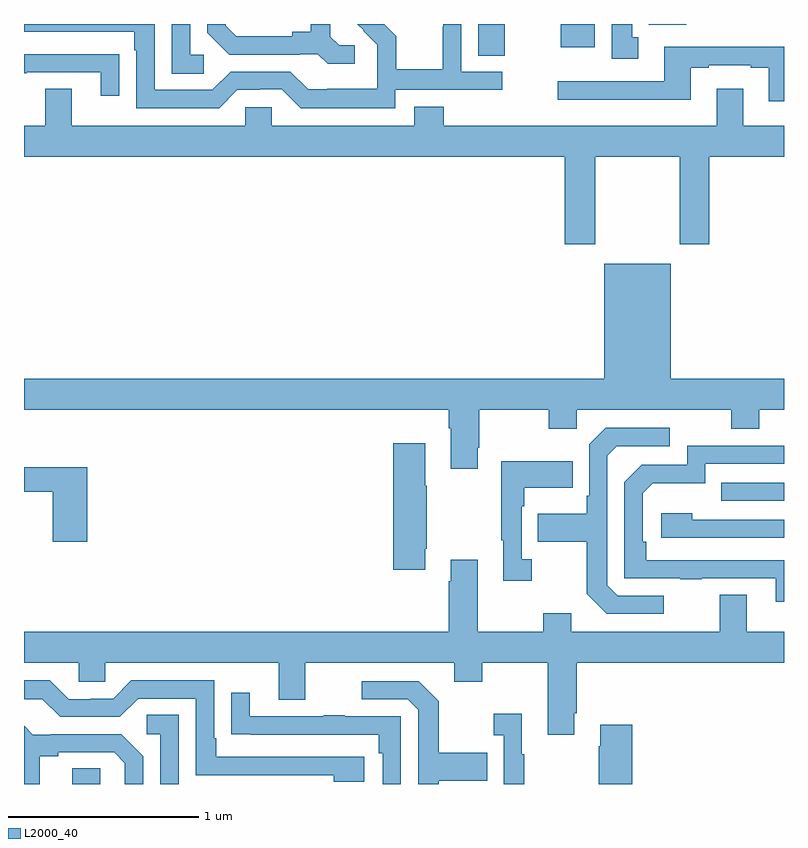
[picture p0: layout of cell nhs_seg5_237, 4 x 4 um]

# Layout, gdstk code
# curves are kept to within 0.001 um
import gdstk
lib = gdstk.Library(unit=1e-6, precision=1e-09)
def R(c, l, rs):  # rectangles x0, y0, x1, y1
    for r in rs: c.add(gdstk.rectangle(r[:2], r[2:], *l))
def P(c, l, *ps):  # polygons
    for p in ps: c.add(gdstk.Polygon(p, *l))
L2000_40 = (2000, 40)

nhs_seg5_237 = lib.new_cell('nhs_seg5_237')
R(nhs_seg5_237, L2000_40, [(125.255,846.799,125.4,846.881), (128.671,848.289,129,848.385), (127.391,850.633,127.53,850.799), (127.826,850.676,128.005,850.799), (128.288,850.796,128.485,850.799)])
P(nhs_seg5_237, L2000_40, [(126.954,850.452),(127.516,850.452),(127.516,850.548),(127.302,850.548),(127.302,850.799),(127.206,850.799),(127.206,850.784),(127.204,850.784),(127.204,850.561),(126.959,850.561),(126.959,850.735),(126.895,850.799),(126.753,850.799),(126.86,850.69),(126.86,850.593),(126.858,850.593),(126.858,850.459),(126.595,850.459),(126.595,850.455),(126.495,850.455),(126.402,850.548),(126.087,850.548),(125.991,850.452),(125.688,850.452),(125.688,850.799),(125,850.799),(125,850.758),(125.579,850.758),(125.579,850.661),(125.592,850.661),(125.592,850.356),(126.027,850.356),(126.123,850.452),(126.242,850.452),(126.242,850.455),(126.357,850.455),(126.457,850.355),(126.954,850.355)],
  [(126.742,850.686),(126.66,850.686),(126.613,850.733),(126.613,850.799),(126.509,850.799),(126.509,850.757),(126.413,850.757),(126.413,850.734),(126.118,850.734),(126.061,850.791),(126.061,850.799),(125.964,850.799),(125.964,850.754),(126.08,850.638),(126.452,850.638),(126.452,850.641),(126.546,850.641),(126.598,850.589),(126.742,850.589)],
  [(125.947,850.638),(125.874,850.638),(125.874,850.799),(125.778,850.799),(125.778,850.537),(125.947,850.537)],
  [(128.233,850.73),(128.2,850.73),(128.2,850.799),(128.093,850.799),(128.093,850.617),(128.233,850.617)],
  [(129,850.678),(128.369,850.678),(128.369,850.497),(127.809,850.497),(127.809,850.4),(128.509,850.4),(128.509,850.569),(128.605,850.569),(128.605,850.581),(128.825,850.581),(128.825,850.569),(128.921,850.569),(128.921,850.392),(129,850.392)],
  [(125.501,850.64),(125.399,850.64),(125.399,850.641),(125,850.641),(125,850.54),(125.015,850.54),(125.015,850.545),(125.405,850.545),(125.405,850.422),(125.501,850.422)],
  [(127.055,850.363),(127.055,850.264),(126.303,850.264),(126.303,850.362),(126.165,850.362),(126.165,850.264),(125.251,850.264),(125.251,850.459),(125.111,850.459),(125.111,850.264),(125,850.264),(125,850.1),(127.847,850.1),(127.847,849.639),(128.007,849.639),(128.007,850.1),(128.452,850.1),(128.452,849.639),(128.607,849.639),(128.607,850.1),(129,850.1),(129,850.264),(128.785,850.264),(128.785,850.459),(128.645,850.459),(128.645,850.264),(127.208,850.264),(127.208,850.363)],
  [(127.387,848.569),(127.395,848.569),(127.395,848.768),(127.762,848.768),(127.762,848.669),(127.908,848.669),(127.908,848.768),(128.722,848.768),(128.722,848.669),(128.869,848.669),(128.869,848.768),(129,848.768),(129,848.932),(128.404,848.932),(128.404,849.538),(128.054,849.538),(128.054,848.932),(125,848.932),(125,848.768),(127.235,848.768),(127.235,848.672),(127.247,848.672),(127.247,848.457),(127.387,848.457)],
  [(128.368,847.791),(128.124,847.791),(128.07,847.845),(128.07,848.526),(128.121,848.577),(128.398,848.577),(128.398,848.673),(128.061,848.673),(127.974,848.586),(127.974,848.317),(127.962,848.317),(127.962,848.221),(127.705,848.221),(127.705,848.074),(127.962,848.074),(127.962,847.801),(128.067,847.695),(128.368,847.695)],
  [(127.111,848.038),(127.119,848.038),(127.119,848.369),(127.111,848.369),(127.111,848.593),(126.944,848.593),(126.944,847.926),(127.111,847.926)],
  [(129,847.976),(128.276,847.977),(128.276,848.074),(128.256,848.074),(128.256,848.328),(128.309,848.381),(128.586,848.381),(128.586,848.484),(129,848.484),(129,848.58),(128.49,848.58),(128.49,848.478),(128.25,848.478),(128.16,848.388),(128.16,847.881),(128.455,847.881),(128.455,847.876),(128.567,847.876),(128.567,847.881),(128.957,847.881),(128.957,847.758),(129,847.758)],
  [(127.672,847.982),(127.62,847.982),(127.62,848.261),(127.633,848.261),(127.633,848.357),(127.889,848.357),(127.889,848.497),(127.512,848.497),(127.512,848.081),(127.523,848.081),(127.523,847.869),(127.672,847.869)],
  [(125.333,848.467),(125,848.467),(125,848.338),(125.15,848.338),(125.15,848.073),(125.333,848.073)],
  [(129,848.19),(128.516,848.19),(128.516,848.224),(128.355,848.224),(128.355,848.094),(129,848.094)],
  [(127.897,847.171),(127.91,847.171),(127.91,847.436),(129,847.436),(129,847.6),(128.803,847.6),(128.803,847.795),(128.663,847.795),(128.663,847.6),(127.879,847.6),(127.879,847.699),(127.732,847.699),(127.732,847.6),(127.387,847.6),(127.387,847.978),(127.247,847.978),(127.247,847.865),(127.235,847.865),(127.235,847.6),(125,847.6),(125,847.436),(125.289,847.436),(125.289,847.338),(125.427,847.338),(125.427,847.436),(126.341,847.436),(126.341,847.242),(126.481,847.242),(126.481,847.436),(127.265,847.436),(127.265,847.337),(127.413,847.337),(127.413,847.436),(127.757,847.436),(127.757,847.059),(127.897,847.059)],
  [(126.79,846.942),(126.013,846.942),(126.013,847.039),(126,847.039),(126,847.344),(125.565,847.344),(125.469,847.248),(125.351,847.248),(125.351,847.245),(125.235,847.245),(125.135,847.345),(125,847.345),(125,847.245),(125.097,847.245),(125.19,847.152),(125.505,847.152),(125.601,847.248),(125.904,847.248),(125.904,846.846),(126.629,846.846),(126.629,846.812),(126.79,846.812)],
  [(127.183,846.815),(127.439,846.815),(127.439,846.963),(127.183,846.963),(127.183,847.235),(127.077,847.341),(126.777,847.341),(126.777,847.245),(127.02,847.245),(127.074,847.191),(127.074,846.799),(127.183,846.799)],
  [(126.984,847.155),(126.689,847.155),(126.689,847.16),(126.577,847.16),(126.577,847.155),(126.187,847.155),(126.187,847.279),(126.091,847.279),(126.091,847.06),(126.193,847.06),(126.193,847.059),(126.868,847.059),(126.868,846.962),(126.888,846.962),(126.888,846.799),(126.984,846.799)],
  [(127.633,846.955),(127.621,846.955),(127.621,847.168),(127.473,847.168),(127.473,847.055),(127.524,847.055),(127.524,846.799),(127.633,846.799)],
  [(125.814,847.163),(125.646,847.163),(125.646,847.062),(125.718,847.062),(125.718,846.799),(125.814,846.799)],
  [(128.201,847.111),(128.033,847.111),(128.033,846.998),(128.026,846.998),(128.026,846.799),(128.201,846.799)],
  [(125.083,846.944),(125.179,846.944),(125.179,846.966),(125.474,846.966),(125.531,846.909),(125.531,846.799),(125.628,846.799),(125.628,846.946),(125.512,847.062),(125.14,847.062),(125.14,847.059),(125.046,847.059),(125,847.105),(125,846.799),(125.083,846.799)])

lib.write_gds('nhs_seg5_237.gds')
